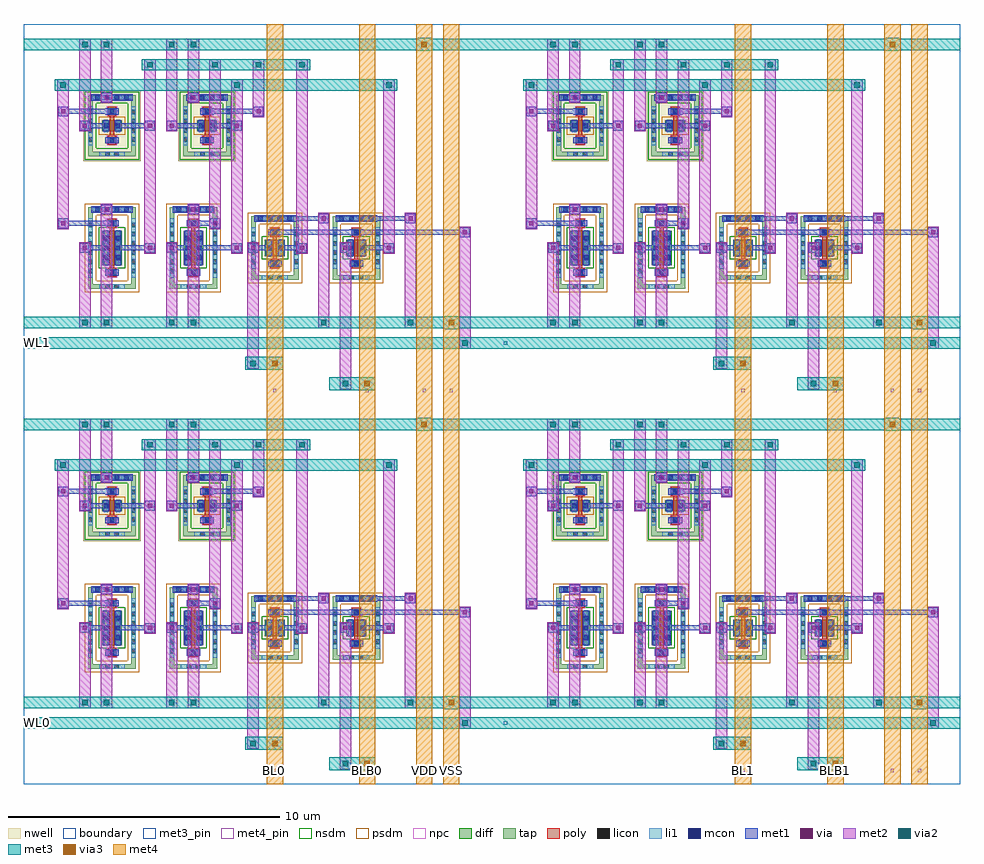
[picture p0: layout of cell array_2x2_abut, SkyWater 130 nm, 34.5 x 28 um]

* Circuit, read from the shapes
.subckt array_2x2_abut BL0 BL1 BLB0 BLB1 VDD VSS WL0 WL1
XM1 n1 n2 VSS VSS sky130_fd_pr__nfet_01v8 w=1.26 l=0.15
XM2 n3 n4 VSS VSS sky130_fd_pr__nfet_01v8 w=1.26 l=0.15
XM3 n2 n1 VSS VSS sky130_fd_pr__nfet_01v8 w=1.26 l=0.15
XM4 n4 n3 VSS VSS sky130_fd_pr__nfet_01v8 w=1.26 l=0.15
XM5 n1 WL0 BL0 VSS sky130_fd_pr__nfet_01v8 w=0.6 l=0.15
XM6 n3 WL1 BL0 VSS sky130_fd_pr__nfet_01v8 w=0.6 l=0.15
XM7 n2 WL0 BLB0 VSS sky130_fd_pr__nfet_01v8 w=0.6 l=0.15
XM8 n4 WL1 BLB0 VSS sky130_fd_pr__nfet_01v8 w=0.6 l=0.15
XM9 n5 n6 VSS VSS sky130_fd_pr__nfet_01v8 w=1.26 l=0.15
XM10 n7 n8 VSS VSS sky130_fd_pr__nfet_01v8 w=1.26 l=0.15
XM11 n6 n5 VSS VSS sky130_fd_pr__nfet_01v8 w=1.26 l=0.15
XM12 n8 n7 VSS VSS sky130_fd_pr__nfet_01v8 w=1.26 l=0.15
XM13 n5 WL0 BL1 VSS sky130_fd_pr__nfet_01v8 w=0.6 l=0.15
XM14 n7 WL1 BL1 VSS sky130_fd_pr__nfet_01v8 w=0.6 l=0.15
XM15 n6 WL0 BLB1 VSS sky130_fd_pr__nfet_01v8 w=0.6 l=0.15
XM16 n8 WL1 BLB1 VSS sky130_fd_pr__nfet_01v8 w=0.6 l=0.15
XM17 n1 n2 VDD VDD sky130_fd_pr__pfet_01v8 w=0.42 l=0.15
XM18 n3 n4 VDD VDD sky130_fd_pr__pfet_01v8 w=0.42 l=0.15
XM19 n2 n1 VDD VDD sky130_fd_pr__pfet_01v8 w=0.42 l=0.15
XM20 n4 n3 VDD VDD sky130_fd_pr__pfet_01v8 w=0.42 l=0.15
XM21 n5 n6 VDD VDD sky130_fd_pr__pfet_01v8 w=0.42 l=0.15
XM22 n7 n8 VDD VDD sky130_fd_pr__pfet_01v8 w=0.42 l=0.15
XM23 n6 n5 VDD VDD sky130_fd_pr__pfet_01v8 w=0.42 l=0.15
XM24 n8 n7 VDD VDD sky130_fd_pr__pfet_01v8 w=0.42 l=0.15
.ends

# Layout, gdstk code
import gdstk
lib = gdstk.Library(unit=1e-6, precision=1e-09)
def R(c, l, rs):  # rectangles x0, y0, x1, y1
    for r in rs: c.add(gdstk.rectangle(r[:2], r[2:], *l))
def A(c, l, x, y, w, h, nx, ny, dx, dy):  # array of equal rectangles
    R(c, l, [(x+i*dx, y+j*dy, x+i*dx+w, y+j*dy+h) for i in range(nx) for j in range(ny)])
nwell = (64, 20)
diff = (65, 20)
tap = (65, 44)
poly = (66, 20)
licon = (66, 44)
li1 = (67, 20)
mcon = (67, 44)
met1 = (68, 20)
via = (68, 44)
met2 = (69, 20)
via2 = (69, 44)
met3_pin = (70, 16)
met3 = (70, 20)
via3 = (70, 44)
met4_pin = (71, 16)
met4 = (71, 20)
nsdm = (93, 44)
psdm = (94, 20)
npc = (95, 20)
boundary = (235, 4)

bitcell_6t_abut = lib.new_cell('bitcell_6t_abut')
R(bitcell_6t_abut, nwell, [(2.195,8.945,4.305,11.555), (5.695,8.945,7.805,11.555)])
R(bitcell_6t_abut, diff, [(2.885,5.12,3.615,6.38), (5.885,5.12,6.615,6.38), (8.885,5.45,9.615,6.05), (11.885,5.45,12.615,6.05), (2.885,10.04,3.615,10.46), (6.385,10.04,7.115,10.46)])
R(bitcell_6t_abut, tap, [(2.375,4.25,4.125,4.42), (5.375,4.25,7.125,4.42), (2.375,4.42,2.545,7.08), (3.955,4.42,4.125,7.08), (5.375,4.42,5.545,7.08), (6.955,4.42,7.125,7.08), (8.375,4.58,10.125,4.75), (11.375,4.58,13.125,4.75), (8.375,4.75,8.545,6.75), (9.955,4.75,10.125,6.75), (11.375,4.75,11.545,6.75), (12.955,4.75,13.125,6.75), (8.375,6.75,10.125,6.92), (11.375,6.75,13.125,6.92), (2.375,7.08,4.125,7.25), (5.375,7.08,7.125,7.25), (2.375,9.125,4.125,9.295), (5.875,9.125,7.625,9.295), (2.375,9.295,2.545,11.205), (3.955,9.295,4.125,11.205), (5.875,9.295,6.045,11.205), (7.455,9.295,7.625,11.205), (2.375,11.205,4.125,11.375), (5.875,11.205,7.625,11.375)])
R(bitcell_6t_abut, poly, [(3.085,4.68,3.415,5.01), (6.085,4.68,6.415,5.01), (3.175,5.01,3.325,6.49), (6.175,5.01,6.325,6.49), (9.085,5.01,9.415,5.34), (12.085,5.01,12.415,5.34), (9.175,5.34,9.325,6.16), (12.175,5.34,12.325,6.16), (9.085,6.16,9.415,6.49), (12.085,6.16,12.415,6.49), (3.085,6.49,3.415,6.82), (6.085,6.49,6.415,6.82), (3.085,9.555,3.415,9.885), (6.585,9.555,6.915,9.885), (3.175,9.885,3.325,10.615), (6.675,9.885,6.825,10.615), (3.085,10.615,3.415,10.945), (6.585,10.615,6.915,10.945)])
A(bitcell_6t_abut, licon, 2.375, 4.815, 0.17, 0.17, 1, 6, 0, 0.34)
A(bitcell_6t_abut, licon, 3.955, 4.815, 0.17, 0.17, 1, 6, 0, 0.34)
A(bitcell_6t_abut, licon, 5.375, 4.815, 0.17, 0.17, 1, 6, 0, 0.34)
A(bitcell_6t_abut, licon, 6.955, 4.815, 0.17, 0.17, 1, 6, 0, 0.34)
A(bitcell_6t_abut, licon, 8.375, 5.155, 0.17, 0.17, 1, 4, 0, 0.34)
A(bitcell_6t_abut, licon, 9.955, 5.155, 0.17, 0.17, 1, 4, 0, 0.34)
A(bitcell_6t_abut, licon, 11.375, 5.155, 0.17, 0.17, 1, 4, 0, 0.34)
A(bitcell_6t_abut, licon, 12.955, 5.155, 0.17, 0.17, 1, 4, 0, 0.34)
A(bitcell_6t_abut, licon, 2.945, 5.325, 0.17, 0.17, 1, 3, 0, 0.34)
A(bitcell_6t_abut, licon, 3.385, 5.325, 0.17, 0.17, 1, 3, 0, 0.34)
A(bitcell_6t_abut, licon, 5.945, 5.325, 0.17, 0.17, 1, 3, 0, 0.34)
A(bitcell_6t_abut, licon, 6.385, 5.325, 0.17, 0.17, 1, 3, 0, 0.34)
A(bitcell_6t_abut, licon, 2.375, 9.655, 0.17, 0.17, 1, 4, 0, 0.34)
A(bitcell_6t_abut, licon, 3.955, 9.655, 0.17, 0.17, 1, 4, 0, 0.34)
A(bitcell_6t_abut, licon, 5.875, 9.655, 0.17, 0.17, 1, 4, 0, 0.34)
A(bitcell_6t_abut, licon, 7.455, 9.655, 0.17, 0.17, 1, 4, 0, 0.34)
R(bitcell_6t_abut, licon, [(2.995,4.25,3.165,4.42), (3.335,4.25,3.505,4.42), (5.995,4.25,6.165,4.42), (6.335,4.25,6.505,4.42), (8.995,4.58,9.165,4.75), (9.335,4.58,9.505,4.75), (11.995,4.58,12.165,4.75), (12.335,4.58,12.505,4.75), (3.165,4.76,3.335,4.93), (6.165,4.76,6.335,4.93), (9.165,5.09,9.335,5.26), (12.165,5.09,12.335,5.26), (8.945,5.665,9.115,5.835), (9.385,5.665,9.555,5.835), (11.945,5.665,12.115,5.835), (12.385,5.665,12.555,5.835), (9.165,6.24,9.335,6.41), (12.165,6.24,12.335,6.41), (3.165,6.57,3.335,6.74), (6.165,6.57,6.335,6.74), (8.995,6.75,9.165,6.92), (9.335,6.75,9.505,6.92), (11.995,6.75,12.165,6.92), (12.335,6.75,12.505,6.92), (2.995,7.08,3.165,7.25), (3.335,7.08,3.505,7.25), (5.995,7.08,6.165,7.25), (6.335,7.08,6.505,7.25), (2.995,9.125,3.165,9.295), (3.335,9.125,3.505,9.295), (6.495,9.125,6.665,9.295), (6.835,9.125,7.005,9.295), (3.165,9.635,3.335,9.805), (6.665,9.635,6.835,9.805), (2.945,10.165,3.115,10.335), (3.385,10.165,3.555,10.335), (6.445,10.165,6.615,10.335), (6.885,10.165,7.055,10.335), (3.165,10.695,3.335,10.865), (6.665,10.695,6.835,10.865), (2.995,11.205,3.165,11.375), (3.335,11.205,3.505,11.375), (6.495,11.205,6.665,11.375), (6.835,11.205,7.005,11.375)])
R(bitcell_6t_abut, li1, [(2.775,4.25,3.725,4.42), (5.775,4.25,6.725,4.42), (8.775,4.58,9.725,4.75), (11.775,4.58,12.725,4.75), (2.375,4.65,2.545,6.85), (3.955,4.65,4.125,6.85), (5.375,4.65,5.545,6.85), (6.955,4.65,7.125,6.85), (3.085,4.76,3.415,4.93), (6.085,4.76,6.415,4.93), (8.375,4.98,8.545,6.52), (9.955,4.98,10.125,6.52), (11.375,4.98,11.545,6.52), (12.955,4.98,13.125,6.52), (9.085,5.09,9.415,5.26), (12.085,5.09,12.415,5.26), (2.945,5.1,3.115,6.4), (3.385,5.1,3.555,6.4), (5.945,5.1,6.115,6.4), (6.385,5.1,6.555,6.4), (8.945,5.43,9.115,6.07), (9.385,5.43,9.555,6.07), (11.945,5.43,12.115,6.07), (12.385,5.43,12.555,6.07), (9.085,6.24,9.415,6.41), (12.085,6.24,12.415,6.41), (3.085,6.57,3.415,6.74), (6.085,6.57,6.415,6.74), (8.545,6.75,9.955,6.92), (11.545,6.75,12.955,6.92), (2.545,7.08,3.955,7.25), (5.545,7.08,6.955,7.25), (2.775,9.125,3.725,9.295), (6.275,9.125,7.225,9.295), (2.375,9.525,2.545,10.975), (3.955,9.525,4.125,10.975), (5.875,9.525,6.045,10.975), (7.455,9.525,7.625,10.975), (3.085,9.635,3.415,9.805), (6.585,9.635,6.915,9.805), (2.945,10.02,3.115,10.48), (3.385,10.02,3.555,10.48), (6.445,10.02,6.615,10.48), (6.885,10.02,7.055,10.48), (3.085,10.695,3.415,10.865), (6.585,10.695,6.915,10.865), (2.545,11.205,3.955,11.375), (6.045,11.205,7.455,11.375)])
A(bitcell_6t_abut, mcon, 2.945, 5.305, 0.17, 0.17, 1, 3, 0, 0.36)
A(bitcell_6t_abut, mcon, 3.385, 5.305, 0.17, 0.17, 1, 3, 0, 0.36)
A(bitcell_6t_abut, mcon, 5.945, 5.305, 0.17, 0.17, 1, 3, 0, 0.36)
A(bitcell_6t_abut, mcon, 6.385, 5.305, 0.17, 0.17, 1, 3, 0, 0.36)
A(bitcell_6t_abut, mcon, 8.625, 6.75, 0.17, 0.17, 4, 1, 0.36, 0)
A(bitcell_6t_abut, mcon, 11.625, 6.75, 0.17, 0.17, 4, 1, 0.36, 0)
A(bitcell_6t_abut, mcon, 2.625, 7.08, 0.17, 0.17, 4, 2, 0.36, 4.125)
A(bitcell_6t_abut, mcon, 5.625, 7.08, 0.17, 0.17, 4, 1, 0.36, 0)
A(bitcell_6t_abut, mcon, 6.125, 11.205, 0.17, 0.17, 4, 1, 0.36, 0)
R(bitcell_6t_abut, mcon, [(3.165,4.76,3.335,4.93), (6.165,4.76,6.335,4.93), (9.165,5.09,9.335,5.26), (12.165,5.09,12.335,5.26), (8.945,5.665,9.115,5.835), (9.385,5.665,9.555,5.835), (11.945,5.665,12.115,5.835), (12.385,5.665,12.555,5.835), (9.165,6.24,9.335,6.41), (12.165,6.24,12.335,6.41), (3.165,6.57,3.335,6.74), (6.165,6.57,6.335,6.74), (3.165,9.635,3.335,9.805), (6.665,9.635,6.835,9.805), (2.945,10.165,3.115,10.335), (3.385,10.165,3.555,10.335), (6.445,10.165,6.615,10.335), (6.885,10.165,7.055,10.335), (3.165,10.695,3.335,10.865), (6.665,10.695,6.835,10.865)])
R(bitcell_6t_abut, met1, [(3,4.73,3.5,4.96), (6,4.73,6.5,4.96), (9,5.06,9.5,5.29), (12,5.06,12.5,5.29), (2.91,5.12,3.15,5.66), (3.35,5.12,3.59,5.66), (5.91,5.12,6.15,5.66), (6.35,5.12,6.59,5.66), (8.915,5.45,9.145,5.66), (9.35,5.45,9.59,5.66), (11.91,5.45,12.15,5.57), (12.35,5.45,12.59,5.66), (2.07,5.57,2.43,5.66), (4.47,5.57,4.83,5.66), (5.27,5.57,5.63,5.66), (7.67,5.57,8.03,5.66), (8.27,5.57,8.63,5.66), (10.07,5.57,10.43,5.66), (11.67,5.57,12.15,5.93), (13.27,5.57,13.63,5.66), (2.07,5.66,3.15,5.84), (3.35,5.66,4.83,5.84), (5.27,5.66,6.15,5.84), (6.35,5.66,8.03,5.84), (8.27,5.66,9.145,5.84), (9.35,5.66,10.43,5.84), (12.35,5.66,13.63,5.84), (2.07,5.84,2.43,5.93), (2.91,5.84,3.15,6.38), (3.35,5.84,3.59,6.38), (4.47,5.84,4.83,5.93), (5.27,5.84,5.63,5.93), (5.91,5.84,6.15,6.38), (6.35,5.84,6.59,6.38), (7.67,5.84,8.03,5.93), (8.27,5.84,8.63,5.93), (8.915,5.84,9.145,6.05), (9.35,5.84,9.59,6.05), (10.07,5.84,10.43,5.93), (12.35,5.84,12.59,6.05), (13.27,5.84,13.63,5.93), (11.91,5.93,12.15,6.05), (16.07,6.145,16.43,6.235), (9,6.21,9.5,6.235), (12,6.21,12.5,6.235), (9,6.235,16.43,6.415), (9,6.415,9.5,6.44), (12,6.415,12.5,6.44), (16.07,6.415,16.43,6.505), (1.27,6.475,1.63,6.565), (6.87,6.475,7.23,6.565), (3,6.54,3.5,6.565), (6,6.54,6.5,6.565), (1.27,6.565,3.5,6.745), (6,6.565,7.23,6.745), (10.87,6.655,11.23,6.745), (14.07,6.655,14.43,6.745), (8.485,6.72,10.015,6.745), (11.485,6.72,13.015,6.745), (1.27,6.745,1.63,6.835), (3,6.745,3.5,6.77), (6,6.745,6.5,6.77), (6.87,6.745,7.23,6.835), (8.485,6.745,11.23,6.925), (11.485,6.745,14.43,6.925), (8.485,6.925,10.015,6.95), (10.87,6.925,11.23,7.015), (11.485,6.925,13.015,6.95), (14.07,6.925,14.43,7.015), (2.87,6.985,3.23,7.05), (6.07,6.985,6.43,7.05), (2.485,7.05,4.015,7.28), (5.485,7.05,7.015,7.28), (2.87,7.28,3.23,7.345), (6.07,7.28,6.43,7.345), (3,9.605,3.5,9.835), (6.5,9.605,7,9.835), (2.91,10.04,3.15,10.16), (3.35,10.04,3.59,10.16), (6.41,10.04,6.65,10.16), (6.85,10.04,7.09,10.16), (2.07,10.07,2.43,10.16), (4.47,10.07,4.83,10.16), (5.27,10.07,5.63,10.16), (7.67,10.07,8.03,10.16), (2.07,10.16,3.15,10.34), (3.35,10.16,4.83,10.34), (5.27,10.16,6.65,10.34), (6.85,10.16,8.03,10.34), (2.07,10.34,2.43,10.43), (2.91,10.34,3.15,10.46), (3.35,10.34,3.59,10.46), (4.47,10.34,4.83,10.43), (5.27,10.34,5.63,10.43), (6.41,10.34,6.65,10.46), (6.85,10.34,7.09,10.46), (7.67,10.34,8.03,10.43), (1.27,10.6,1.63,10.69), (8.47,10.6,8.83,10.69), (3,10.665,3.5,10.69), (6.5,10.665,7,10.69), (1.27,10.69,3.5,10.87), (6.5,10.69,8.83,10.87), (1.27,10.87,1.63,10.96), (3,10.87,3.5,10.895), (6.5,10.87,7,10.895), (8.47,10.87,8.83,10.96), (2.87,11.11,3.23,11.175), (6.07,11.11,6.43,11.175), (2.485,11.175,4.015,11.405), (5.985,11.175,7.515,11.405), (2.87,11.405,3.23,11.47), (6.07,11.405,6.43,11.47)])
A(bitcell_6t_abut, via, 10.175, 5.675, 0.15, 0.15, 3, 1, 1.6, 0)
R(bitcell_6t_abut, via, [(2.175,5.675,2.325,5.825), (4.575,5.675,4.725,5.825), (5.375,5.675,5.525,5.825), (7.775,5.675,7.925,5.825), (8.375,5.675,8.525,5.825), (16.175,6.25,16.325,6.4), (1.375,6.58,1.525,6.73), (6.975,6.58,7.125,6.73), (10.975,6.76,11.125,6.91), (14.175,6.76,14.325,6.91), (2.975,7.09,3.125,7.24), (6.175,7.09,6.325,7.24), (2.175,10.175,2.325,10.325), (4.575,10.175,4.725,10.325), (5.375,10.175,5.525,10.325), (7.775,10.175,7.925,10.325), (1.375,10.705,1.525,10.855), (8.575,10.705,8.725,10.855), (2.975,11.215,3.125,11.365), (6.175,11.215,6.325,11.365)])
R(bitcell_6t_abut, met2, [(11.64,0.54,12.06,5.96), (8.24,1.29,8.66,5.96), (16.04,2.04,16.46,6.535), (2.04,2.79,2.46,5.96), (2.84,2.79,3.26,7.375), (5.24,2.79,5.66,5.96), (6.04,2.79,6.46,7.375), (10.84,2.79,11.26,7.045), (14.04,2.79,14.46,7.045), (4.44,5.54,4.86,12.71), (7.64,5.54,8.06,11.96), (10.04,5.54,10.46,12.71), (13.24,5.54,13.66,11.96), (1.24,6.445,1.66,11.96), (6.84,6.445,7.26,12.71), (2.04,10.04,2.46,13.46), (5.24,10.04,5.66,13.46), (8.44,10.57,8.86,12.71), (2.84,11.08,3.26,13.46), (6.04,11.08,6.46,13.46)])
A(bitcell_6t_abut, via2, 6.95, 12.4, 0.2, 0.2, 3, 1, 1.6, 0)
R(bitcell_6t_abut, via2, [(11.75,0.65,11.95,0.85), (8.35,1.4,8.55,1.6), (16.15,2.15,16.35,2.35), (2.15,2.9,2.35,3.1), (2.95,2.9,3.15,3.1), (5.35,2.9,5.55,3.1), (6.15,2.9,6.35,3.1), (10.95,2.9,11.15,3.1), (14.15,2.9,14.35,3.1), (1.35,11.65,1.55,11.85), (7.75,11.65,7.95,11.85), (13.35,11.65,13.55,11.85), (4.55,12.4,4.75,12.6), (2.15,13.15,2.35,13.35), (2.95,13.15,3.15,13.35), (5.35,13.15,5.55,13.35), (6.15,13.15,6.35,13.35)])
R(bitcell_6t_abut, met3_pin, [(0.44,2.19,0.56,2.31)])
R(bitcell_6t_abut, met3, [(11.25,0.51,12.95,0.99), (8.15,1.26,9.55,1.74), (0,2.04,17.25,2.46), (15.51,2.76,15.99,2.79), (0,2.79,17.25,3.21), (15.51,3.21,15.99,3.24), (1.15,11.54,13.75,11.96), (4.35,12.29,10.55,12.71), (14.51,13.01,14.99,13.04), (0,13.04,17.25,13.46), (14.51,13.46,14.99,13.49)])
R(bitcell_6t_abut, via3, [(12.55,0.65,12.75,0.85), (9.15,1.4,9.35,1.6), (15.65,2.9,15.85,3.1), (14.65,13.15,14.85,13.35)])
R(bitcell_6t_abut, met4_pin, [(9.19,0.44,9.31,0.56), (12.59,0.44,12.71,0.56), (14.69,0.44,14.81,0.56), (15.69,0.44,15.81,0.56)])
R(bitcell_6t_abut, met4, [(8.95,0,9.55,14), (12.35,0,12.95,14), (14.45,0,15.05,14), (15.45,0,16.05,14)])
R(bitcell_6t_abut, nsdm, [(2.76,4.995,3.74,6.505), (5.76,4.995,6.74,6.505), (8.76,5.325,9.74,6.175), (11.76,5.325,12.74,6.175), (2.25,9,4.25,9.42), (5.75,9,7.75,9.42), (2.25,9.42,2.67,11.08), (3.83,9.42,4.25,11.08), (5.75,9.42,6.17,11.08), (7.33,9.42,7.75,11.08), (2.25,11.08,4.25,11.5), (5.75,11.08,7.75,11.5)])
R(bitcell_6t_abut, psdm, [(2.25,4.125,4.25,4.545), (5.25,4.125,7.25,4.545), (8.25,4.455,10.25,4.875), (11.25,4.455,13.25,4.875), (2.25,4.545,2.67,6.955), (3.83,4.545,4.25,6.955), (5.25,4.545,5.67,6.955), (6.83,4.545,7.25,6.955), (8.25,4.875,8.67,6.625), (9.83,4.875,10.25,6.625), (11.25,4.875,11.67,6.625), (12.83,4.875,13.25,6.625), (8.25,6.625,10.25,7.045), (11.25,6.625,13.25,7.045), (2.25,6.955,4.25,7.375), (5.25,6.955,7.25,7.375), (2.76,9.915,3.74,10.585), (6.26,9.915,7.24,10.585)])
R(bitcell_6t_abut, npc, [(3.065,4.66,3.435,5.03), (6.065,4.66,6.435,5.03), (9.065,4.99,9.435,5.36), (12.065,4.99,12.435,5.36), (9.065,6.14,9.435,6.51), (12.065,6.14,12.435,6.51), (3.065,6.47,3.435,6.84), (6.065,6.47,6.435,6.84), (3.065,9.535,3.435,9.905), (6.565,9.535,6.935,9.905), (3.065,10.595,3.435,10.965), (6.565,10.595,6.935,10.965)])
R(bitcell_6t_abut, boundary, [(0,0,17.25,14)])
bitcell_6t_abut.add(gdstk.Label('VDD', (14.75,0.5), layer=71, texttype=5))
bitcell_6t_abut.add(gdstk.Label('BL', (9.25,0.5), layer=71, texttype=5))
bitcell_6t_abut.add(gdstk.Label('BLB', (12.65,0.5), layer=71, texttype=5))
bitcell_6t_abut.add(gdstk.Label('VSS', (15.75,0.5), layer=71, texttype=5))
bitcell_6t_abut.add(gdstk.Label('WL', (0.5,2.25), layer=70, texttype=5))

array_2x2_abut = lib.new_cell('array_2x2_abut')
R(array_2x2_abut, met3_pin, [(0.45,2.2,0.55,2.3), (0.45,16.2,0.55,16.3)])
R(array_2x2_abut, met3, [(0.45,2.2,0.55,2.3), (0.45,16.2,0.55,16.3)])
R(array_2x2_abut, met4_pin, [(9.2,0.45,9.3,0.55), (12.6,0.45,12.7,0.55), (14.7,0.45,14.8,0.55), (15.7,0.45,15.8,0.55), (26.45,0.45,26.55,0.55), (29.85,0.45,29.95,0.55)])
R(array_2x2_abut, met4, [(9.2,0.45,9.3,0.55), (12.6,0.45,12.7,0.55), (14.7,0.45,14.8,0.55), (15.7,0.45,15.8,0.55), (26.45,0.45,26.55,0.55), (29.85,0.45,29.95,0.55)])
array_2x2_abut.add(gdstk.Reference(bitcell_6t_abut, (17.25,14)))
array_2x2_abut.add(gdstk.Reference(bitcell_6t_abut, (0,14)))
array_2x2_abut.add(gdstk.Reference(bitcell_6t_abut, (17.25,0)))
array_2x2_abut.add(gdstk.Reference(bitcell_6t_abut, (0,0)))
array_2x2_abut.add(gdstk.Label('VDD', (14.75,0.5), layer=71, texttype=5))
array_2x2_abut.add(gdstk.Label('VSS', (15.75,0.5), layer=71, texttype=5))
array_2x2_abut.add(gdstk.Label('WL0', (0.5,2.25), layer=70, texttype=5))
array_2x2_abut.add(gdstk.Label('WL1', (0.5,16.25), layer=70, texttype=5))
array_2x2_abut.add(gdstk.Label('BL0', (9.25,0.5), layer=71, texttype=5))
array_2x2_abut.add(gdstk.Label('BLB0', (12.65,0.5), layer=71, texttype=5))
array_2x2_abut.add(gdstk.Label('BL1', (26.5,0.5), layer=71, texttype=5))
array_2x2_abut.add(gdstk.Label('BLB1', (29.9,0.5), layer=71, texttype=5))

lib.write_gds('array_2x2_abut.gds')
